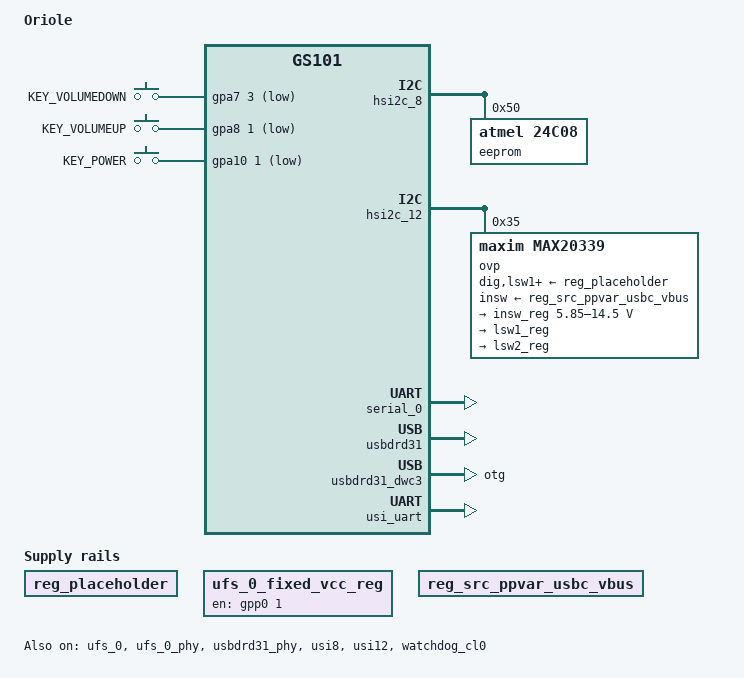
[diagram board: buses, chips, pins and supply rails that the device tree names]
// SPDX-License-Identifier: GPL-2.0-only
/*
 * Oriole Device Tree
 *
 * Copyright 2021-2023 Google LLC
 * Copyright 2023 Linaro Ltd - <peter.griffin@linaro.org>
 */

/dts-v1/;

#include <dt-bindings/gpio/gpio.h>
#include <dt-bindings/input/input.h>
#include "gs101-pinctrl.h"
#include "gs101.dtsi"

/ {
	model = "Oriole";
	compatible = "google,gs101-oriole", "google,gs101";

	aliases {
		serial0 = &serial_0;
	};

	chosen {
		/* Bootloader expects bootargs specified otherwise it crashes */
		bootargs = "";
		stdout-path = &serial_0;
	};

	gpio-keys {
		compatible = "gpio-keys";
		pinctrl-0 = <&key_voldown>, <&key_volup>, <&key_power>;
		pinctrl-names = "default";

		button-vol-down {
			label = "KEY_VOLUMEDOWN";
			linux,code = <KEY_VOLUMEDOWN>;
			gpios = <&gpa7 3 GPIO_ACTIVE_LOW>;
			wakeup-source;
		};

		button-vol-up {
			label = "KEY_VOLUMEUP";
			linux,code = <KEY_VOLUMEUP>;
			gpios = <&gpa8 1 GPIO_ACTIVE_LOW>;
			wakeup-source;
		};

		button-power {
			label = "KEY_POWER";
			linux,code = <KEY_POWER>;
			gpios = <&gpa10 1 GPIO_ACTIVE_LOW>;
			wakeup-source;
		};
	};

	/* TODO: Remove this once PMIC is implemented  */
	reg_placeholder: regulator-0 {
		compatible = "regulator-fixed";
		regulator-name = "placeholder_reg";
	};

	/* TODO: Remove this once S2MPG11 slave PMIC is implemented  */
	ufs_0_fixed_vcc_reg: regulator-1 {
		compatible = "regulator-fixed";
		regulator-name = "ufs-vcc";
		gpio = <&gpp0 1 GPIO_ACTIVE_HIGH>;
		regulator-boot-on;
		enable-active-high;
	};

	/* This represents Vbus coming from the USB Type-C connector */
	reg_src_ppvar_usbc_vbus: regulator-src-ppvar-usbc-vbus {
		compatible = "regulator-fixed";
		regulator-name = "src_ppvar_usbc_vbus";
	};
};

&ext_24_5m {
	clock-frequency = <24576000>;
};

&ext_200m {
	clock-frequency = <200000000>;
};

&hsi2c_8 {
	status = "okay";

	eeprom: eeprom@50 {
		compatible = "atmel,24c08";
		reg = <0x50>;
	};
};

&hsi2c_12 {
	status = "okay";
	/* TODO: add the devices once drivers exist */

	ovp: ovp@35 {
		compatible = "maxim,max20339";
		reg = <0x35>;
		/* TODO: add interrupt once driver for max77759-gpio exists */
		/* TODO: Update this once PMIC is implemented (PP1800_L2M_ALIVE) */
		dig-supply = <&reg_placeholder>;

		insw-supply = <&reg_src_ppvar_usbc_vbus>;
		/* TODO: update this once boost regulator exists */
		lsw1-supply = <&reg_placeholder>;
		lsw2-supply = <&reg_placeholder>;

		gpio {
			gpio-controller;
			#gpio-cells = <2>;
			/*
			 * "Human-readable name [SIGNAL_LABEL]" where the
			 * latter comes from the schematic
			 */
			gpio-line-names = "Vin valid [SRC_PPVAR_USBC_VBUS]";
		};

		regulators {
			insw_reg: insw {
				regulator-name = "PPVAR_VBUS_OVP";
				regulator-active-discharge = <0>;
				regulator-min-microvolt = <5850000>;
				regulator-max-microvolt = <14500000>;
				regulator-ov-protection-microvolt = <14500000>;
			};
			lsw1_reg: lsw1 {
				regulator-name = "PPVAR_VBUS_OVP_LSW1";
				regulator-oc-protection-microamp = <1460000>;
				regulator-ov-protection-microvolt = <1>;
				shunt-resistor-micro-ohms = <120000000>;
			};
			lsw2_reg: lsw2 {
				regulator-name = "PPVAR_QI_VOUT_TX";
				regulator-oc-protection-microamp = <1230000>;
				regulator-ov-protection-microvolt = <1>;
				shunt-resistor-micro-ohms = <143000000>;
			};
		};
	};
};

&pinctrl_far_alive {
	key_voldown: key-voldown-pins {
		samsung,pins = "gpa7-3";
		samsung,pin-function = <GS101_PIN_FUNC_EINT>;
		samsung,pin-pud = <GS101_PIN_PULL_NONE>;
		samsung,pin-drv = <GS101_PIN_DRV_2_5_MA>;
	};

	key_volup: key-volup-pins {
		samsung,pins = "gpa8-1";
		samsung,pin-function = <GS101_PIN_FUNC_EINT>;
		samsung,pin-pud = <GS101_PIN_PULL_NONE>;
		samsung,pin-drv = <GS101_PIN_DRV_2_5_MA>;
	};
};

&pinctrl_gpio_alive {
	key_power: key-power-pins {
		samsung,pins = "gpa10-1";
		samsung,pin-function = <GS101_PIN_FUNC_EINT>;
		samsung,pin-pud = <GS101_PIN_PULL_NONE>;
		samsung,pin-drv = <GS101_PIN_DRV_2_5_MA>;
	};
};

&serial_0 {
	status = "okay";
};

&ufs_0 {
	status = "okay";
	vcc-supply = <&ufs_0_fixed_vcc_reg>;
};

&ufs_0_phy {
	status = "okay";
};

&usbdrd31 {
	vdd10-supply = <&reg_placeholder>;
	vdd33-supply = <&reg_placeholder>;
	status = "okay";
};

&usbdrd31_dwc3 {
	dr_mode = "otg";
	usb-role-switch;
	role-switch-default-mode = "peripheral";
	maximum-speed = "super-speed-plus";
	status = "okay";
};

&usbdrd31_phy {
	/* TODO: Update these once PMIC is implemented */
	pll-supply = <&reg_placeholder>;
	dvdd-usb20-supply = <&reg_placeholder>;
	vddh-usb20-supply = <&reg_placeholder>;
	vdd33-usb20-supply = <&reg_placeholder>;
	vdda-usbdp-supply = <&reg_placeholder>;
	vddh-usbdp-supply = <&reg_placeholder>;
	status = "okay";
};

&usi_uart {
	samsung,clkreq-on; /* needed for UART mode */
	status = "okay";
};

&usi8 {
	samsung,mode = <USI_V2_I2C>;
	status = "okay";
};

&usi12 {
	samsung,mode = <USI_V2_I2C>;
	status = "okay";
};

&watchdog_cl0 {
	timeout-sec = <30>;
	status = "okay";
};
